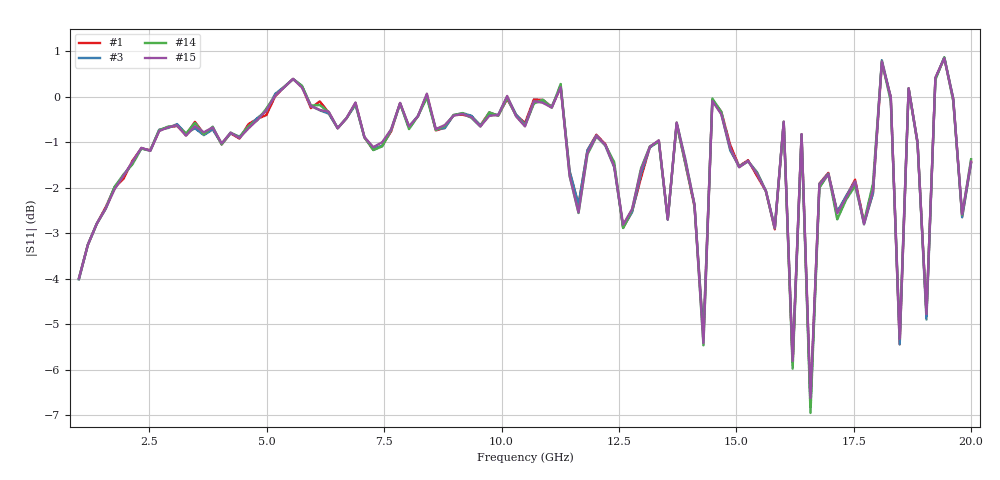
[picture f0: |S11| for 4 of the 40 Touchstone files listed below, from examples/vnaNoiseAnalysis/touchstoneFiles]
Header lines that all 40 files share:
# GHz S RI R 50
!freq	ReS11	ImS11
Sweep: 1 GHz to 20 GHz
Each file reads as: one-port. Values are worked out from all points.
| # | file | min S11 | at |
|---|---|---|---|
| 1 | 2010-12-01 15-47-23.396000.s1p | -6.7 dB | 16.58 GHz |
| 2 | 2010-12-01 15-47-25.008000.s1p | -6.7 dB | 16.58 GHz |
| 3 | 2010-12-01 15-47-26.650000.s1p | -6.8 dB | 16.58 GHz |
| 4 | 2010-12-01 15-47-28.283000.s1p | -6.7 dB | 16.58 GHz |
| 5 | 2010-12-01 15-47-29.905000.s1p | -6.7 dB | 16.58 GHz |
| 6 | 2010-12-01 15-47-31.578000.s1p | -6.7 dB | 16.58 GHz |
| 7 | 2010-12-01 15-47-33.220000.s1p | -6.7 dB | 16.58 GHz |
| 8 | 2010-12-01 15-47-34.862000.s1p | -6.7 dB | 16.58 GHz |
| 9 | 2010-12-01 15-47-36.455000.s1p | -6.7 dB | 16.58 GHz |
| 10 | 2010-12-01 15-47-38.067000.s1p | -6.7 dB | 16.58 GHz |
| 11 | 2010-12-01 15-47-39.679000.s1p | -6.8 dB | 16.58 GHz |
| 12 | 2010-12-01 15-47-41.352000.s1p | -6.8 dB | 16.58 GHz |
| 13 | 2010-12-01 15-47-42.964000.s1p | -6.8 dB | 16.58 GHz |
| 14 | 2010-12-01 15-47-44.616000.s1p | -6.9 dB | 16.58 GHz |
| 15 | 2010-12-01 15-47-46.249000.s1p | -6.6 dB | 16.58 GHz |
| 16 | 2010-12-01 15-47-47.871000.s1p | -6.7 dB | 16.58 GHz |
| 17 | 2010-12-01 15-47-49.473000.s1p | -6.8 dB | 16.58 GHz |
| 18 | 2010-12-01 15-47-51.086000.s1p | -6.7 dB | 16.58 GHz |
| 19 | 2010-12-01 15-47-52.728000.s1p | -6.6 dB | 16.58 GHz |
| 20 | 2010-12-01 15-47-54.330000.s1p | -6.6 dB | 16.58 GHz |
| 21 | 2010-12-01 15-47-55.943000.s1p | -6.7 dB | 16.58 GHz |
| 22 | 2010-12-01 15-47-57.545000.s1p | -6.6 dB | 16.58 GHz |
| 23 | 2010-12-01 15-47-59.217000.s1p | -6.7 dB | 16.58 GHz |
| 24 | 2010-12-01 15-48-00.840000.s1p | -6.7 dB | 16.58 GHz |
| 25 | 2010-12-01 15-48-02.472000.s1p | -6.7 dB | 16.58 GHz |
| 26 | 2010-12-01 15-48-04.084000.s1p | -6.7 dB | 16.58 GHz |
| 27 | 2010-12-01 15-48-05.677000.s1p | -6.6 dB | 16.58 GHz |
| 28 | 2010-12-01 15-48-07.309000.s1p | -6.7 dB | 16.58 GHz |
| 29 | 2010-12-01 15-48-08.931000.s1p | -6.7 dB | 16.58 GHz |
| 30 | 2010-12-01 15-48-10.594000.s1p | -6.7 dB | 16.58 GHz |
| 31 | 2010-12-01 15-48-12.236000.s1p | -6.6 dB | 16.58 GHz |
| 32 | 2010-12-01 15-48-13.868000.s1p | -6.7 dB | 16.58 GHz |
| 33 | 2010-12-01 15-48-15.501000.s1p | -6.7 dB | 16.58 GHz |
| 34 | 2010-12-01 15-48-17.153000.s1p | -6.6 dB | 16.58 GHz |
| 35 | 2010-12-01 15-48-18.785000.s1p | -6.7 dB | 16.58 GHz |
| 36 | 2010-12-01 15-48-20.388000.s1p | -6.7 dB | 16.58 GHz |
| 37 | 2010-12-01 15-48-21.980000.s1p | -6.7 dB | 16.58 GHz |
| 38 | 2010-12-01 15-48-23.642000.s1p | -6.7 dB | 16.58 GHz |
| 39 | 2010-12-01 15-48-25.275000.s1p | -6.7 dB | 16.58 GHz |
| 40 | 2010-12-01 15-48-26.877000.s1p | -6.7 dB | 16.58 GHz |
